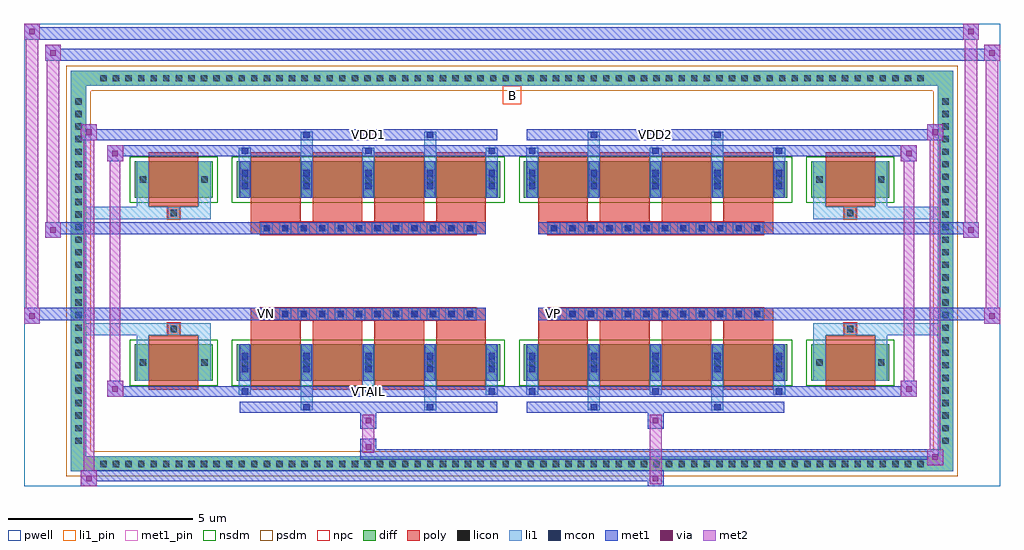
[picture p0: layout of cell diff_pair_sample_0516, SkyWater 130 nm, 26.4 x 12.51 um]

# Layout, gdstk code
import gdstk
lib = gdstk.Library(unit=1e-6, precision=5e-09)
def R(c, l, rs):  # rectangles x0, y0, x1, y1
    for r in rs: c.add(gdstk.rectangle(r[:2], r[2:], *l))
def A(c, l, x, y, w, h, nx, ny, dx, dy):  # array of equal rectangles
    R(c, l, [(x+i*dx, y+j*dy, x+i*dx+w, y+j*dy+h) for i in range(nx) for j in range(ny)])
def P(c, l, *ps):  # polygons
    for p in ps: c.add(gdstk.Polygon(p, *l))
pwell = (64, 44)
diff = (65, 20)
poly = (66, 20)
licon = (66, 44)
li1_pin = (67, 16)
li1 = (67, 20)
mcon = (67, 44)
met1_pin = (68, 16)
met1 = (68, 20)
via = (68, 44)
met2 = (69, 20)
nsdm = (93, 44)
psdm = (94, 20)
npc = (95, 20)

diff_pair_sample_0516 = lib.new_cell('diff_pair_sample_0516')
R(diff_pair_sample_0516, pwell, [(-13.2,-5.82,13.2,6.69), (-10.52,-4.01,-0.01,-0.795), (0.01,-4.01,10.52,-0.795), (-10.52,0.795,-0.01,4.01), (0.01,0.795,10.52,4.01)])
A(diff_pair_sample_0516, diff, -11.255, -5.42, 0.41, 0.41, 66, 2, 0.34, 10.43)
A(diff_pair_sample_0516, diff, -11.93, -4.795, 0.41, 0.41, 1, 28, 0, 0.34)
A(diff_pair_sample_0516, diff, 11.52, -4.795, 0.41, 0.41, 1, 28, 0, 0.34)
R(diff_pair_sample_0516, diff, [(-11.255,-5.42,11.255,-5.01), (-11.93,-4.795,-11.52,4.795), (11.52,-4.795,11.93,4.795), (-10.21,-2.965,-8.09,-1.985), (-7.45,-2.965,-0.32,-1.985), (0.32,-2.965,7.45,-1.985), (8.09,-2.965,10.21,-1.985), (-10.21,1.985,-8.09,2.965), (-7.45,1.985,-0.32,2.965), (0.32,1.985,7.45,2.965), (8.09,1.985,10.21,2.965), (-11.255,5.01,11.255,5.42)])
P(diff_pair_sample_0516, diff, [(11.93,5.42),(-11.93,5.42),(-11.93,-5.01),(-11.52,-5.01),(-11.52,5.01),(11.52,5.01),(11.52,-5.01),(-11.52,-5.01),(-11.93,-5.01),(-11.93,-5.42),(11.93,-5.42)])
A(diff_pair_sample_0516, poly, -7.06, -3.215, 1.34, 1.48, 4, 2, 1.67, 4.95)
A(diff_pair_sample_0516, poly, 0.71, -3.215, 1.34, 1.48, 4, 2, 1.67, 4.95)
A(diff_pair_sample_0516, poly, -7.06, -1.735, 1.34, 0.41, 4, 2, 1.67, 3.06)
A(diff_pair_sample_0516, poly, 0.71, -1.735, 1.34, 0.41, 4, 2, 1.67, 3.06)
A(diff_pair_sample_0516, poly, -6.8, -1.325, 0.33, 0.33, 12, 2, 0.5, 2.32)
A(diff_pair_sample_0516, poly, 0.97, -1.325, 0.33, 0.33, 12, 2, 0.5, 2.32)
R(diff_pair_sample_0516, poly, [(-9.82,-3.215,-8.48,-1.735), (8.48,-3.215,9.82,-1.735), (-9.315,-1.735,-8.985,-1.405), (-9.315,-1.735,-8.985,-1.405), (8.985,-1.735,9.315,-1.405), (8.985,-1.735,9.315,-1.405), (-7.06,-1.325,-0.71,-0.995), (0.71,-1.325,7.06,-0.995), (-7.06,0.995,-0.71,1.325), (0.71,0.995,7.06,1.325), (-9.315,1.405,-8.985,1.735), (-9.315,1.405,-8.985,1.735), (8.985,1.405,9.315,1.735), (8.985,1.405,9.315,1.735), (-9.82,1.735,-8.48,3.215), (8.48,1.735,9.82,3.215)])
A(diff_pair_sample_0516, licon, -11.135, -5.3, 0.17, 0.17, 66, 2, 0.34, 10.43)
A(diff_pair_sample_0516, licon, -11.81, -4.675, 0.17, 0.17, 1, 28, 0, 0.34)
A(diff_pair_sample_0516, licon, 11.64, -4.675, 0.17, 0.17, 1, 28, 0, 0.34)
A(diff_pair_sample_0516, licon, -7.31, -2.56, 0.17, 0.17, 5, 2, 1.67, 4.95)
A(diff_pair_sample_0516, licon, 0.46, -2.56, 0.17, 0.17, 5, 2, 1.67, 4.95)
A(diff_pair_sample_0516, licon, -6.72, -1.245, 0.17, 0.17, 12, 2, 0.5, 2.32)
A(diff_pair_sample_0516, licon, 1.05, -1.245, 0.17, 0.17, 12, 2, 0.5, 2.32)
R(diff_pair_sample_0516, licon, [(-10.07,-2.56,-9.9,-2.39), (-8.4,-2.56,-8.23,-2.39), (8.23,-2.56,8.4,-2.39), (9.9,-2.56,10.07,-2.39), (-9.235,-1.655,-9.065,-1.485), (9.065,-1.655,9.235,-1.485), (-9.235,1.485,-9.065,1.655), (9.065,1.485,9.235,1.655), (-10.07,2.39,-9.9,2.56), (-8.4,2.39,-8.23,2.56), (8.23,2.39,8.4,2.56), (9.9,2.39,10.07,2.56)])
R(diff_pair_sample_0516, li1_pin, [(-0.25,4.51,0.25,5.01)])
A(diff_pair_sample_0516, li1, -11.215, -5.38, 0.33, 0.33, 66, 2, 0.34, 10.43)
A(diff_pair_sample_0516, li1, -11.89, -4.755, 0.33, 0.33, 1, 28, 0, 0.34)
A(diff_pair_sample_0516, li1, 11.56, -4.755, 0.33, 0.33, 1, 28, 0, 0.34)
A(diff_pair_sample_0516, li1, -7.39, -3.34, 0.33, 0.375, 3, 2, 3.34, 6.305)
A(diff_pair_sample_0516, li1, -7.31, -3.34, 0.17, 0.17, 3, 2, 3.34, 6.51)
A(diff_pair_sample_0516, li1, 0.38, -3.34, 0.33, 0.375, 3, 2, 3.34, 6.305)
A(diff_pair_sample_0516, li1, 0.46, -3.34, 0.17, 0.17, 3, 2, 3.34, 6.51)
A(diff_pair_sample_0516, li1, -7.39, -2.965, 0.33, 0.98, 5, 2, 1.67, 4.95)
A(diff_pair_sample_0516, li1, 0.38, -2.965, 0.33, 0.98, 5, 2, 1.67, 4.95)
A(diff_pair_sample_0516, li1, -7.31, -2.74, 0.17, 0.17, 5, 2, 1.67, 0.36)
A(diff_pair_sample_0516, li1, -7.31, -2.74, 0.17, 0.53, 5, 2, 1.67, 4.95)
A(diff_pair_sample_0516, li1, 0.46, -2.74, 0.17, 0.17, 5, 2, 1.67, 0.36)
A(diff_pair_sample_0516, li1, 0.46, -2.74, 0.17, 0.53, 5, 2, 1.67, 4.95)
A(diff_pair_sample_0516, li1, -7.39, -2.64, 0.33, 0.33, 5, 2, 1.67, 4.95)
A(diff_pair_sample_0516, li1, 0.38, -2.64, 0.33, 0.33, 5, 2, 1.67, 4.95)
A(diff_pair_sample_0516, li1, -6.8, -1.325, 0.33, 0.33, 12, 2, 0.5, 2.32)
A(diff_pair_sample_0516, li1, 0.97, -1.325, 0.33, 0.33, 12, 2, 0.5, 2.32)
A(diff_pair_sample_0516, li1, -7.31, 2.21, 0.17, 0.17, 5, 2, 1.67, 0.36)
A(diff_pair_sample_0516, li1, 0.46, 2.21, 0.17, 0.17, 5, 2, 1.67, 0.36)
R(diff_pair_sample_0516, li1, [(-11.93,-5.42,-11.52,-5.01), (-11.93,-5.42,-11.52,-5.01), (-11.52,-5.42,11.52,-5.01), (11.52,-5.42,11.93,-5.01), (11.52,-5.42,11.93,-5.01), (-11.93,-5.01,-11.52,5.01), (11.52,-5.01,11.93,5.01), (-5.72,-3.77,-5.39,-2.965), (-5.64,-3.77,-5.47,-3.6), (-2.38,-3.77,-2.05,-2.965), (-2.3,-3.77,-2.13,-3.6), (2.05,-3.77,2.38,-2.965), (2.13,-3.77,2.3,-3.6), (5.39,-3.77,5.72,-2.965), (5.47,-3.77,5.64,-3.6), (-10.15,-2.965,-9.82,-1.985), (-8.48,-2.965,-8.15,-1.985), (8.15,-2.965,8.48,-1.985), (9.82,-2.965,10.15,-1.985), (-10.15,-2.64,-9.82,-2.31), (-8.48,-2.64,-8.15,-2.31), (8.15,-2.64,8.48,-2.31), (9.82,-2.64,10.15,-2.31), (-10.15,-1.985,-9.82,-1.405), (-8.48,-1.985,-8.15,-1.405), (8.15,-1.985,8.48,-1.405), (9.82,-1.985,10.15,-1.405), (-11.93,-1.735,-9.315,-1.405), (-10.15,-1.735,-9.315,-1.405), (-9.315,-1.735,-8.985,-1.405), (-8.985,-1.735,-8.15,-1.405), (8.15,-1.735,8.985,-1.405), (8.985,-1.735,9.315,-1.405), (8.985,-1.735,11.93,-1.405), (9.315,-1.735,10.15,-1.405), (-11.93,1.405,-9.315,1.735), (-10.15,1.405,-9.315,1.735), (-10.15,1.405,-9.82,1.985), (-9.315,1.405,-8.985,1.735), (-8.985,1.405,-8.15,1.735), (-8.48,1.405,-8.15,1.985), (8.15,1.405,8.985,1.735), (8.15,1.405,8.48,1.985), (8.985,1.405,9.315,1.735), (8.985,1.405,11.93,1.735), (9.315,1.405,10.15,1.735), (9.82,1.405,10.15,1.985), (-10.15,1.985,-9.82,2.965), (-8.48,1.985,-8.15,2.965), (8.15,1.985,8.48,2.965), (9.82,1.985,10.15,2.965), (-10.15,2.31,-9.82,2.64), (-8.48,2.31,-8.15,2.64), (8.15,2.31,8.48,2.64), (9.82,2.31,10.15,2.64), (-5.72,2.965,-5.39,3.77), (-2.38,2.965,-2.05,3.77), (2.05,2.965,2.38,3.77), (5.39,2.965,5.72,3.77), (-5.64,3.6,-5.47,3.77), (-2.3,3.6,-2.13,3.77), (2.13,3.6,2.3,3.77), (5.47,3.6,5.64,3.77), (-11.93,5.01,-11.52,5.42), (-11.93,5.01,-11.52,5.42), (-11.52,5.01,11.52,5.42), (11.52,5.01,11.93,5.42), (11.52,5.01,11.93,5.42)])
A(diff_pair_sample_0516, mcon, -7.31, -3.34, 0.17, 0.17, 3, 2, 3.34, 6.51)
A(diff_pair_sample_0516, mcon, 0.46, -3.34, 0.17, 0.17, 3, 2, 3.34, 6.51)
A(diff_pair_sample_0516, mcon, -7.31, -2.74, 0.17, 0.17, 5, 2, 1.67, 0.36)
A(diff_pair_sample_0516, mcon, 0.46, -2.74, 0.17, 0.17, 5, 2, 1.67, 0.36)
A(diff_pair_sample_0516, mcon, -6.72, -1.245, 0.17, 0.17, 12, 2, 0.5, 2.32)
A(diff_pair_sample_0516, mcon, 1.05, -1.245, 0.17, 0.17, 12, 2, 0.5, 2.32)
A(diff_pair_sample_0516, mcon, -7.31, 2.21, 0.17, 0.17, 5, 2, 1.67, 0.36)
A(diff_pair_sample_0516, mcon, 0.46, 2.21, 0.17, 0.17, 5, 2, 1.67, 0.36)
R(diff_pair_sample_0516, mcon, [(-5.64,-3.77,-5.47,-3.6), (-2.3,-3.77,-2.13,-3.6), (2.13,-3.77,2.3,-3.6), (5.47,-3.77,5.64,-3.6), (-5.64,3.6,-5.47,3.77), (-2.3,3.6,-2.13,3.77), (2.13,3.6,2.3,3.77), (5.47,3.6,5.64,3.77)])
R(diff_pair_sample_0516, met1_pin, [(-4.02,-3.38,-3.75,-3.11), (-6.77,-1.285,-6.5,-1.015), (1,-1.285,1.27,-1.015), (-4.02,3.56,-3.75,3.83), (3.75,3.56,4.02,3.83)])
A(diff_pair_sample_0516, met1, -7.37, -3.4, 0.29, 0.29, 3, 2, 3.34, 6.51)
A(diff_pair_sample_0516, met1, 0.4, -3.4, 0.29, 0.29, 3, 2, 3.34, 6.51)
A(diff_pair_sample_0516, met1, -7.37, -2.965, 0.29, 0.98, 5, 2, 1.67, 4.95)
A(diff_pair_sample_0516, met1, 0.4, -2.965, 0.29, 0.98, 5, 2, 1.67, 4.95)
A(diff_pair_sample_0516, met1, -7.37, -2.8, 0.29, 0.29, 5, 2, 1.67, 0.36)
A(diff_pair_sample_0516, met1, 0.4, -2.8, 0.29, 0.29, 5, 2, 1.67, 0.36)
A(diff_pair_sample_0516, met1, -6.78, -1.305, 0.29, 0.29, 12, 2, 0.5, 2.32)
A(diff_pair_sample_0516, met1, 0.99, -1.305, 0.29, 0.29, 12, 2, 0.5, 2.32)
A(diff_pair_sample_0516, met1, -7.37, 2.15, 0.29, 0.29, 5, 2, 1.67, 0.36)
A(diff_pair_sample_0516, met1, 0.4, 2.15, 0.29, 0.29, 5, 2, 1.67, 0.36)
R(diff_pair_sample_0516, met1, [(-11.66,-5.82,-11.23,-5.39), (3.67,-5.82,4.1,-5.39), (-11.66,-5.68,4.1,-5.39), (11.23,-5.25,11.66,-4.82), (-4.1,-5.11,11.66,-4.82), (-4.1,-4.97,-3.67,-4.54), (-4.1,-4.26,-3.67,-3.83), (3.67,-4.26,4.1,-3.83), (-7.37,-3.83,-0.4,-3.54), (-5.7,-3.83,-5.41,-3.54), (-2.36,-3.83,-2.07,-3.54), (0.4,-3.83,7.37,-3.54), (2.07,-3.83,2.36,-3.54), (5.41,-3.83,5.7,-3.54), (-10.95,-3.4,-10.52,-2.97), (-10.95,-3.4,-7.37,-3.11), (-7.37,-3.4,-0.4,-3.11), (-0.4,-3.4,0.4,-3.11), (0.4,-3.4,7.37,-3.11), (7.37,-3.4,10.95,-3.11), (10.52,-3.4,10.95,-2.97), (-13.2,-1.425,-12.77,-0.995), (12.77,-1.425,13.2,-0.995), (-13.2,-1.325,-0.71,-0.995), (-7.06,-1.325,-0.71,-0.995), (0.71,-1.325,7.06,-0.995), (0.71,-1.325,13.2,-0.995), (-12.63,0.895,-12.2,1.325), (12.2,0.895,12.63,1.325), (-12.63,0.995,-7.06,1.325), (-7.06,0.995,-0.71,1.325), (0.71,0.995,7.06,1.325), (7.06,0.995,12.63,1.325), (-10.95,2.97,-10.52,3.4), (10.52,2.97,10.95,3.4), (-10.95,3.11,-7.37,3.4), (-7.37,3.11,-0.4,3.4), (-0.4,3.11,0.4,3.4), (0.4,3.11,7.37,3.4), (7.37,3.11,10.95,3.4), (-11.66,3.54,-11.23,3.97), (-11.66,3.54,-7.37,3.83), (-7.37,3.54,-0.4,3.83), (-5.7,3.54,-5.41,3.83), (-2.36,3.54,-2.07,3.83), (0.4,3.54,7.37,3.83), (2.07,3.54,2.36,3.83), (5.41,3.54,5.7,3.83), (7.37,3.54,11.66,3.83), (11.23,3.54,11.66,3.97), (-12.63,5.69,-12.2,6.12), (-12.63,5.69,-10.52,6.02), (-10.52,5.69,10.52,6.02), (10.52,5.69,13.2,6.02), (12.77,5.69,13.2,6.12), (-13.2,6.26,-12.77,6.69), (-13.2,6.26,-10.52,6.59), (-10.52,6.26,10.52,6.59), (10.52,6.26,12.63,6.59), (12.2,6.26,12.63,6.69)])
R(diff_pair_sample_0516, via, [(-11.52,-5.68,-11.37,-5.53), (3.81,-5.68,3.96,-5.53), (11.37,-5.11,11.52,-4.96), (-3.96,-4.83,-3.81,-4.68), (-3.96,-4.12,-3.81,-3.97), (3.81,-4.12,3.96,-3.97), (-10.81,-3.26,-10.66,-3.11), (10.66,-3.26,10.81,-3.11), (-13.06,-1.285,-12.91,-1.135), (12.91,-1.285,13.06,-1.135), (-12.49,1.035,-12.34,1.185), (12.34,1.035,12.49,1.185), (-10.81,3.11,-10.66,3.26), (10.66,3.11,10.81,3.26), (-11.52,3.68,-11.37,3.83), (11.37,3.68,11.52,3.83), (-12.49,5.83,-12.34,5.98), (12.91,5.83,13.06,5.98), (-13.06,6.4,-12.91,6.55), (12.34,6.4,12.49,6.55)])
R(diff_pair_sample_0516, met2, [(-11.66,-5.82,-11.23,-5.39), (-11.59,-5.82,-11.3,3.97), (-11.3,-5.82,-11.23,-5.39), (-11.61,-5.77,-11.28,-5.44), (3.72,-5.77,4.05,-5.44), (3.72,-5.44,4.05,-4.21), (11.23,-5.25,11.66,-4.82), (11.3,-5.25,11.59,3.97), (11.59,-5.25,11.66,-4.82), (11.28,-5.2,11.61,-4.87), (-4.05,-4.92,-3.72,-4.59), (-4.05,-4.59,-3.72,-4.21), (-4.05,-4.21,-3.72,-3.88), (3.72,-4.21,4.05,-3.88), (-10.95,-3.4,-10.52,-2.97), (-10.88,-3.4,-10.59,3.4), (-10.59,-3.4,-10.52,-2.97), (10.52,-3.4,10.95,-2.97), (10.59,-3.4,10.88,3.4), (10.88,-3.4,10.95,-2.97), (-10.9,-3.35,-10.57,-3.02), (10.57,-3.35,10.9,-3.02), (-13.2,-1.425,-12.77,-0.995), (-13.15,-1.425,-12.82,6.69), (-12.82,-1.425,-12.77,-0.995), (12.77,-1.425,13.2,-0.995), (12.82,-1.425,13.15,6.12), (13.15,-1.425,13.2,-0.995), (-13.15,-1.375,-12.82,-1.045), (12.82,-1.375,13.15,-1.045), (-12.63,0.895,-12.2,1.325), (-12.58,0.895,-12.25,6.12), (-12.25,0.895,-12.2,1.325), (12.2,0.895,12.63,1.325), (12.25,0.895,12.58,6.69), (12.58,0.895,12.63,1.325), (-12.58,0.945,-12.25,1.275), (12.25,0.945,12.58,1.275), (-10.95,2.97,-10.52,3.4), (-10.59,2.97,-10.52,3.4), (10.52,2.97,10.95,3.4), (10.88,2.97,10.95,3.4), (-10.9,3.02,-10.57,3.35), (10.57,3.02,10.9,3.35), (-11.66,3.54,-11.23,3.97), (-11.3,3.54,-11.23,3.97), (11.23,3.54,11.66,3.97), (11.59,3.54,11.66,3.97), (-11.61,3.59,-11.28,3.92), (11.28,3.59,11.61,3.92), (-12.63,5.69,-12.2,6.12), (-12.25,5.69,-12.2,6.12), (12.77,5.69,13.2,6.12), (13.15,5.69,13.2,6.12), (-12.58,5.74,-12.25,6.07), (12.82,5.74,13.15,6.07), (-13.2,6.26,-12.77,6.69), (-12.82,6.26,-12.77,6.69), (12.2,6.26,12.63,6.69), (12.58,6.26,12.63,6.69), (-13.15,6.31,-12.82,6.64), (12.25,6.31,12.58,6.64)])
R(diff_pair_sample_0516, nsdm, [(-10.34,-3.095,-7.96,-1.855), (-7.58,-3.095,-0.19,-1.855), (0.19,-3.095,7.58,-1.855), (7.96,-3.095,10.34,-1.855), (-10.34,1.855,-7.96,3.095), (-7.58,1.855,-0.19,3.095), (0.19,1.855,7.58,3.095), (7.96,1.855,10.34,3.095)])
P(diff_pair_sample_0516, psdm, [(12.06,5.55),(-12.06,5.55),(-12.06,-4.88),(-11.39,-4.88),(-11.39,4.88),(11.39,4.88),(11.39,-4.88),(-11.39,-4.88),(-12.06,-4.88),(-12.06,-5.55),(12.06,-5.55)])
A(diff_pair_sample_0516, npc, -6.82, -1.345, 0.37, 0.37, 12, 2, 0.5, 2.32)
A(diff_pair_sample_0516, npc, 0.95, -1.345, 0.37, 0.37, 12, 2, 0.5, 2.32)
R(diff_pair_sample_0516, npc, [(-9.335,-1.755,-8.965,-1.385), (8.965,-1.755,9.335,-1.385), (-6.82,-1.345,-5.95,-0.975), (-6.82,-1.345,-5.95,-0.975), (-6.32,-1.345,-5.45,-0.975), (-6.32,-1.345,-5.45,-0.975), (-5.82,-1.345,-4.95,-0.975), (-5.82,-1.345,-4.95,-0.975), (-5.32,-1.345,-4.45,-0.975), (-5.32,-1.345,-4.45,-0.975), (-4.82,-1.345,-3.95,-0.975), (-4.82,-1.345,-3.95,-0.975), (-4.32,-1.345,-3.45,-0.975), (-4.32,-1.345,-3.45,-0.975), (-3.82,-1.345,-2.95,-0.975), (-3.82,-1.345,-2.95,-0.975), (-3.32,-1.345,-2.45,-0.975), (-3.32,-1.345,-2.45,-0.975), (-2.82,-1.345,-1.95,-0.975), (-2.82,-1.345,-1.95,-0.975), (-2.32,-1.345,-1.45,-0.975), (-2.32,-1.345,-1.45,-0.975), (-1.82,-1.345,-0.95,-0.975), (-1.82,-1.345,-0.95,-0.975), (0.95,-1.345,1.82,-0.975), (0.95,-1.345,1.82,-0.975), (1.45,-1.345,2.32,-0.975), (1.45,-1.345,2.32,-0.975), (1.95,-1.345,2.82,-0.975), (1.95,-1.345,2.82,-0.975), (2.45,-1.345,3.32,-0.975), (2.45,-1.345,3.32,-0.975), (2.95,-1.345,3.82,-0.975), (2.95,-1.345,3.82,-0.975), (3.45,-1.345,4.32,-0.975), (3.45,-1.345,4.32,-0.975), (3.95,-1.345,4.82,-0.975), (3.95,-1.345,4.82,-0.975), (4.45,-1.345,5.32,-0.975), (4.45,-1.345,5.32,-0.975), (4.95,-1.345,5.82,-0.975), (4.95,-1.345,5.82,-0.975), (5.45,-1.345,6.32,-0.975), (5.45,-1.345,6.32,-0.975), (5.95,-1.345,6.82,-0.975), (5.95,-1.345,6.82,-0.975), (-6.82,0.975,-5.95,1.345), (-6.82,0.975,-5.95,1.345), (-6.32,0.975,-5.45,1.345), (-6.32,0.975,-5.45,1.345), (-5.82,0.975,-4.95,1.345), (-5.82,0.975,-4.95,1.345), (-5.32,0.975,-4.45,1.345), (-5.32,0.975,-4.45,1.345), (-4.82,0.975,-3.95,1.345), (-4.82,0.975,-3.95,1.345), (-4.32,0.975,-3.45,1.345), (-4.32,0.975,-3.45,1.345), (-3.82,0.975,-2.95,1.345), (-3.82,0.975,-2.95,1.345), (-3.32,0.975,-2.45,1.345), (-3.32,0.975,-2.45,1.345), (-2.82,0.975,-1.95,1.345), (-2.82,0.975,-1.95,1.345), (-2.32,0.975,-1.45,1.345), (-2.32,0.975,-1.45,1.345), (-1.82,0.975,-0.95,1.345), (-1.82,0.975,-0.95,1.345), (0.95,0.975,1.82,1.345), (0.95,0.975,1.82,1.345), (1.45,0.975,2.32,1.345), (1.45,0.975,2.32,1.345), (1.95,0.975,2.82,1.345), (1.95,0.975,2.82,1.345), (2.45,0.975,3.32,1.345), (2.45,0.975,3.32,1.345), (2.95,0.975,3.82,1.345), (2.95,0.975,3.82,1.345), (3.45,0.975,4.32,1.345), (3.45,0.975,4.32,1.345), (3.95,0.975,4.82,1.345), (3.95,0.975,4.82,1.345), (4.45,0.975,5.32,1.345), (4.45,0.975,5.32,1.345), (4.95,0.975,5.82,1.345), (4.95,0.975,5.82,1.345), (5.45,0.975,6.32,1.345), (5.45,0.975,6.32,1.345), (5.95,0.975,6.82,1.345), (5.95,0.975,6.82,1.345), (-9.335,1.385,-8.965,1.755), (8.965,1.385,9.335,1.755)])
diff_pair_sample_0516.add(gdstk.Label('VTAIL', (-3.885,-3.245), layer=68, texttype=5))
diff_pair_sample_0516.add(gdstk.Label('VN', (-6.635,-1.15), layer=68, texttype=5))
diff_pair_sample_0516.add(gdstk.Label('VP', (1.135,-1.15), layer=68, texttype=5))
diff_pair_sample_0516.add(gdstk.Label('B', (0,4.76), layer=67, texttype=5))
diff_pair_sample_0516.add(gdstk.Label('VDD2', (3.885,3.695), layer=68, texttype=5))
diff_pair_sample_0516.add(gdstk.Label('VDD1', (-3.885,3.695), layer=68, texttype=5))

lib.write_gds('diff_pair_sample_0516.gds')
